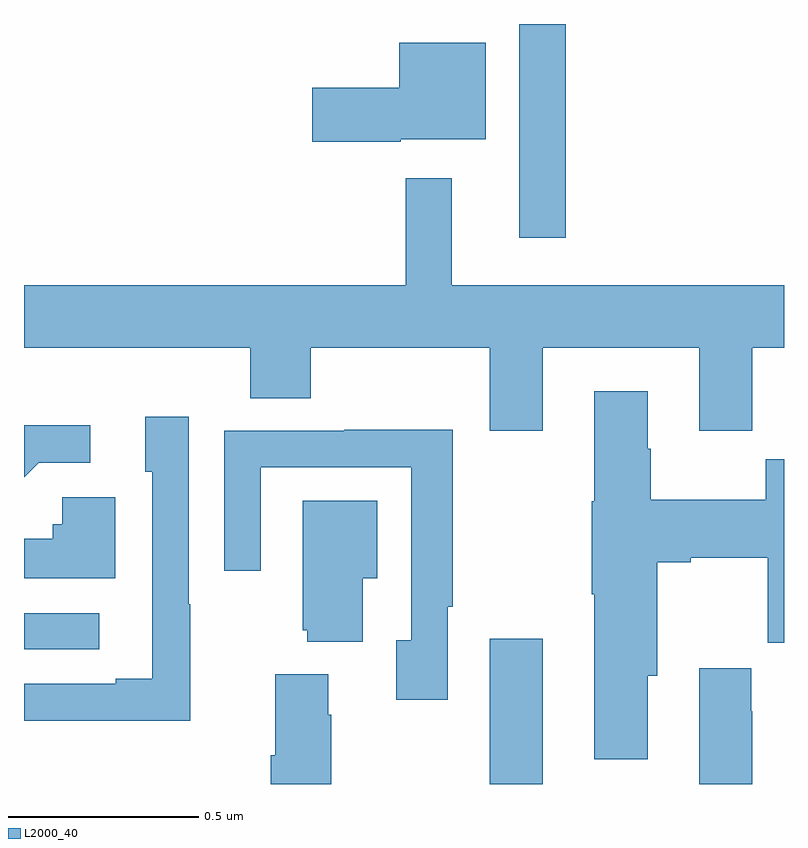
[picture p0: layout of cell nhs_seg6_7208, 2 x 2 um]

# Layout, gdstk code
import gdstk
lib = gdstk.Library(unit=1e-6, precision=1e-09)
def R(c, l, rs):  # rectangles x0, y0, x1, y1
    for r in rs: c.add(gdstk.rectangle(r[:2], r[2:], *l))
def P(c, l, *ps):  # polygons
    for p in ps: c.add(gdstk.Polygon(p, *l))
L2000_40 = (2000, 40)

nhs_seg6_7208 = lib.new_cell('nhs_seg6_7208')
R(nhs_seg6_7208, L2000_40, [(206.225,967.5,206.365,967.882), (205,967.854,205.198,967.95), (206.303,968.937,206.425,969.5)])
P(nhs_seg6_7208, L2000_40, [(205.992,969.197),(206.215,969.197),(206.215,969.451),(205.988,969.451),(205.988,969.332),(205.758,969.332),(205.758,969.19),(205.992,969.19)],
  [(206.365,968.648),(206.777,968.648),(206.777,968.43),(206.917,968.43),(206.917,968.648),(207,968.648),(207,968.812),(206.125,968.812),(206.125,969.094),(206.004,969.094),(206.004,968.812),(205,968.812),(205,968.648),(205.595,968.648),(205.595,968.515),(205.755,968.515),(205.755,968.648),(206.225,968.648),(206.225,968.43),(206.365,968.43)],
  [(206.641,967.785),(206.667,967.785),(206.667,968.084),(206.755,968.084),(206.755,968.096),(206.957,968.096),(206.957,967.872),(207,967.872),(207,968.354),(206.952,968.354),(206.952,968.248),(206.649,968.248),(206.649,968.382),(206.641,968.382),(206.641,968.533),(206.501,968.533),(206.501,968.244),(206.494,968.244),(206.494,968),(206.501,968),(206.501,967.565),(206.641,967.565)],
  [(205.437,967.973),(205.434,967.973),(205.434,968.467),(205.319,968.467),(205.319,968.322),(205.338,968.322),(205.338,967.97),(205.337,967.97),(205.337,967.777),(205.241,967.777),(205.241,967.764),(205,967.764),(205,967.667),(205.437,967.667)],
  [(205.039,968.346),(205.174,968.346),(205.174,968.444),(205,968.444),(205,968.307)],
  [(206.115,967.966),(206.128,967.966),(206.128,968.432),(205.843,968.432),(205.843,968.43),(205.527,968.43),(205.527,968.061),(205.623,968.061),(205.623,968.334),(206.019,968.334),(206.019,967.878),(205.979,967.878),(205.979,967.722),(206.115,967.722)],
  [(205.24,968.254),(205.101,968.254),(205.101,968.184),(205.075,968.184),(205.075,968.146),(205,968.146),(205,968.042),(205.24,968.042)],
  [(205.891,968.042),(205.93,968.042),(205.93,968.245),(205.733,968.245),(205.733,967.905),(205.745,967.905),(205.745,967.874),(205.891,967.874)],
  [(206.917,967.691),(206.914,967.691),(206.914,967.804),(206.777,967.804),(206.777,967.5),(206.917,967.5)],
  [(205.809,967.682),(205.801,967.682),(205.801,967.789),(205.661,967.789),(205.661,967.576),(205.649,967.576),(205.649,967.5),(205.809,967.5)])

lib.write_gds('nhs_seg6_7208.gds')
